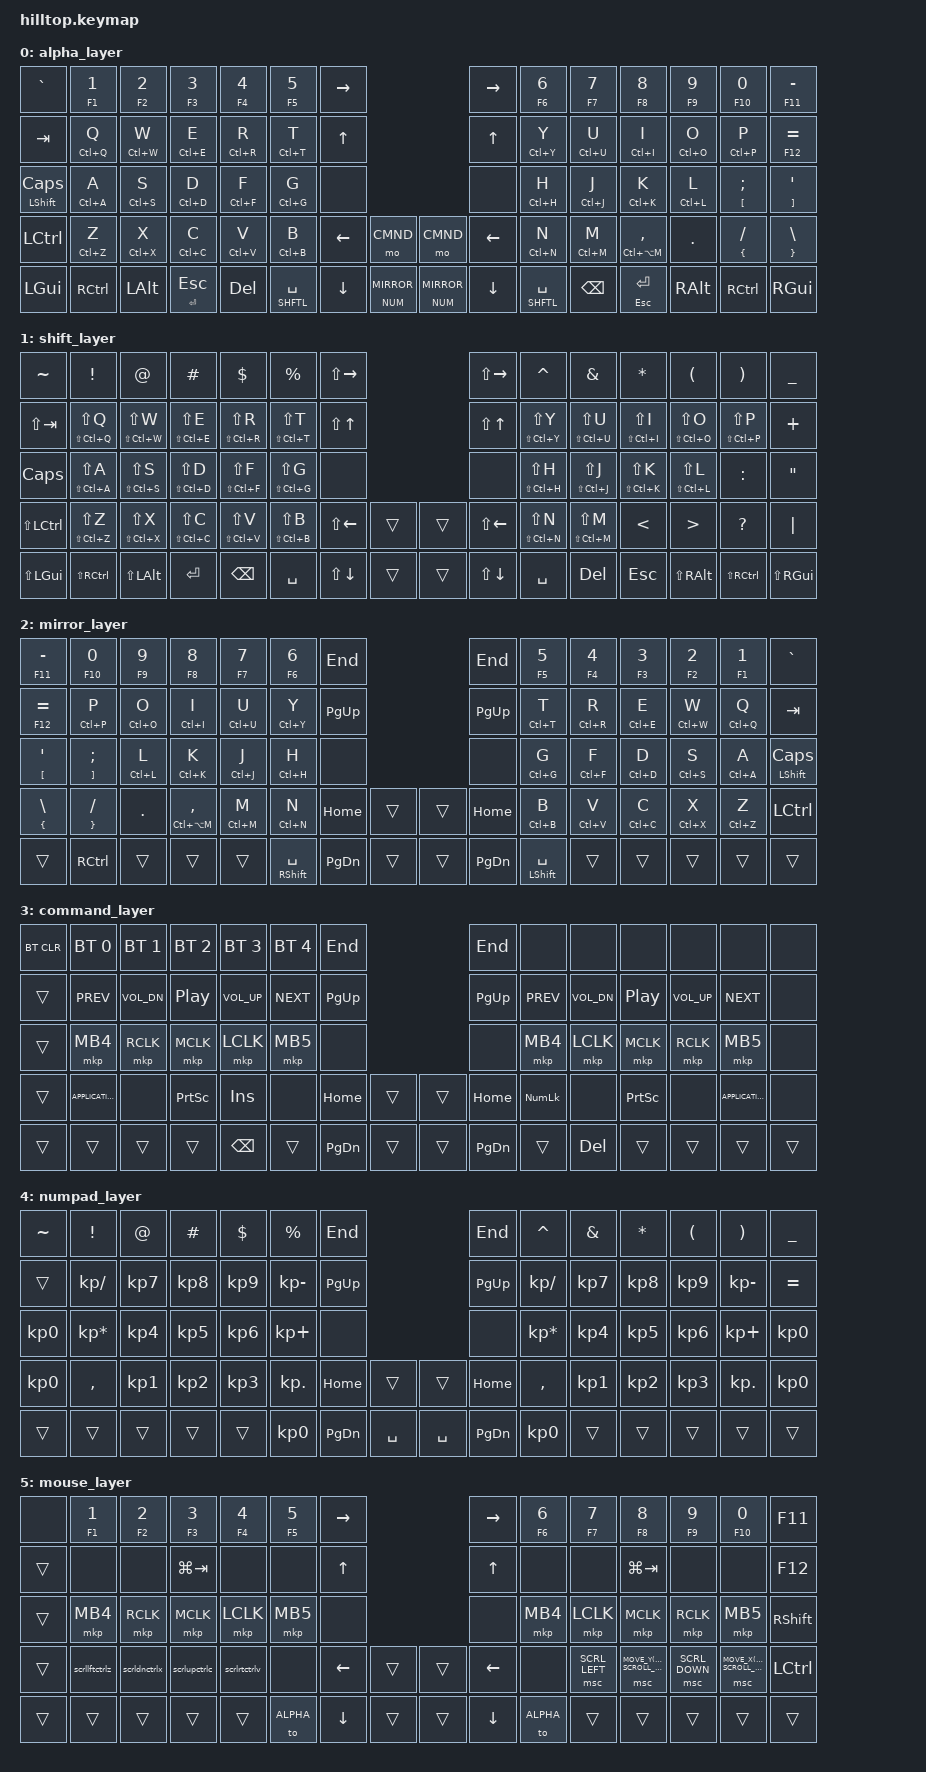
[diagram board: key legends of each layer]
#include <behaviors.dtsi>
#include <dt-bindings/zmk/keys.h> 
#include <dt-bindings/zmk/bt.h>
#include <dt-bindings/zmk/pointing.h>

#define ALPHA 0
#define SHFTL 1
#define MIRROR 2
#define CMND 3
#define NUM 4
#define MOUSE 5

&mmv {
	acceleration-exponent = <1>;
	time-to-max-speed-ms = <200>;
};
  
&msc {
	acceleration-exponent = <1>;
	time-to-max-speed-ms = <50>;
};

#define U_MOUSE_MOVE_MAX 750
#define U_MOUSE_SCROLL_MAX 50

#undef MOVE_UP
#undef MOVE_DOWN
#undef MOVE_LEFT
#undef MOVE_RIGHT
#define MOVE_UP MOVE_Y(-U_MOUSE_MOVE_MAX)
#define MOVE_DOWN MOVE_Y(U_MOUSE_MOVE_MAX)
#define MOVE_LEFT MOVE_X(-U_MOUSE_MOVE_MAX)
#define MOVE_RIGHT MOVE_X(U_MOUSE_MOVE_MAX)

#undef SCRL_UP
#undef SCRL_DOWN
#undef SCRL_LEFT
#undef SCRL_RIGHT
#define SCRL_UP MOVE_Y(U_MOUSE_SCROLL_MAX)
#define SCRL_DOWN MOVE_Y(-U_MOUSE_SCROLL_MAX)
#define SCRL_LEFT MOVE_X(-U_MOUSE_SCROLL_MAX)
#define SCRL_RIGHT MOVE_X(U_MOUSE_SCROLL_MAX)

/ {
	behaviors {
		ht_tp: hold_tap_tap_preferred {
			compatible = "zmk,behavior-hold-tap";
			#binding-cells = <2>;
			flavor = "tap-preferred";
			tapping-term-ms = <200>;
			quick-tap-ms = <150>;
			bindings = <&kp>, <&kp>;
		};

		ht_bal: hold_tap_balanced {
			compatible = "zmk,behavior-hold-tap";
			#binding-cells = <2>;
			flavor = "balanced";
			tapping-term-ms = <200>;
			quick-tap-ms = <150>;
			bindings = <&kp>, <&kp>;
		};

		ht_mokp: hold_tap_mo_kp {
			compatible = "zmk,behavior-hold-tap";
			#binding-cells = <2>;
			flavor = "balanced";
			tapping-term-ms = <200>;
			quick-tap-ms = <150>;
			bindings = <&mo>, <&kp>;
		};

		ht_moto: hold_tap_mo_to {
			compatible = "zmk,behavior-hold-tap";
			#binding-cells = <2>;
			flavor = "balanced";
			tapping-term-ms = <200>;
			quick-tap-ms = <150>;
			bindings = <&mo>, <&to>;
		};

		ht_mosl: hold_tap_mo_sl {
			compatible = "zmk,behavior-hold-tap";
			#binding-cells = <2>;
			flavor = "balanced";
			tapping-term-ms = <200>;
			quick-tap-ms = <150>;
			bindings = <&mo>, <&sl>;
		};

		scrlupctrlc: scrlupctrlc {
			compatible = "zmk,behavior-mod-morph";
			#binding-cells = <0>;
			bindings = <&msc SCRL_UP>, <&kp LC(C)>;
			mods = <(MOD_LCTL)>;
		};
		scrlrtctrlv: scrlrtctrlv {
			compatible = "zmk,behavior-mod-morph";
			#binding-cells = <0>;
			bindings = <&msc SCRL_RIGHT>, <&kp LC(V)>;
			mods = <(MOD_LCTL)>;
		};
		scrllftctrlz: scrllftctrlz {
			compatible = "zmk,behavior-mod-morph";
			#binding-cells = <0>;
			bindings = <&msc SCRL_LEFT>, <&kp LC(Z)>;
			mods = <(MOD_LCTL)>;
		};
		scrldnctrlx: scrldnctrlx {
			compatible = "zmk,behavior-mod-morph";
			#binding-cells = <0>;
			bindings = <&msc SCRL_DOWN>, <&kp LC(X)>;
			mods = <(MOD_LCTL)>;
		};
    };

	combos {
		compatible = "zmk,combos";
		combo_mouseleft {
			timeout-ms = <100>;
			key-positions = <49 65>;
			bindings = <&to MOUSE>;
			require-prior-idle-ms = <250>;
		};
		combo_mouseright {
			timeout-ms = <100>;
			key-positions = <50 66>;
			bindings = <&to MOUSE>;
			require-prior-idle-ms = <250>;
		};
		combo_alpha {
			timeout-ms = <100>;
			key-positions = <63 68>;
			bindings = <&to ALPHA>;
			require-prior-idle-ms = <250>;
		};
	};
};

/ {
	keymap {
		compatible = "zmk,keymap";
// | SW0		| SW1			| SW2			| SW3			| SW4			| SW5			| SW6 5WR		|						| SW7 5WR		| SW8			| SW9			| SW10			| SW11			| SW12			| SW13		|
// | SW14		| SW15			| SW16			| SW17			| SW18			| SW19			| SW20 5WU		|						| SW21 5WU		| SW22			| SW23			| SW24			| SW25			| SW26			| SW27		|
// | SW28		| SW29			| SW30			| SW31			| SW32			| SW33			| SW34 5WC		|						| SW35 5WC		| SW36			| SW37			| SW38			| SW39			| SW40			| SW41		|
// | SW42		| SW43			| SW44			| SW45			| SW46			| SW47			| SW48 5WL		| SW49	|		| SW50			| SW51 5WL		| SW52			| SW53			| SW54			| SW55			| SW56			| SW57		|
// | SW58		| SW59			| SW60			| SW61			| SW62			| SW63			| SW64 5WD		| SW65	|		| SW66			| SW67 5WD		| SW68			| SW69			| SW70			| SW71			| SW72			| SW73		|

		alpha_layer {
// |   `		| 1/F1			| 2/F2			| 3/F3			| 4/F4			| 5/F5			| RIGHT			|						| END			| 6/F6			| 7/F7			| 8/F8			| 9/F9			| 0/F10			| -/F11		|
// | TAB		|  Q			|  W			|  E			|  R			|  T			| UP			|						| PGUP			|  Y			|  U			|  I			|  O			|   P			| =/F12		|
// | SHFT/CPS		|  A			|  S			|  D			|  F			|  G			| 			|						| 			|  H			|  J			|  K			|  L			|   ;			|  '		|
// | LCTRL		|  Z			|  X			|  C			|  V			|  B			| LEFT			| CMND LAY		| CMND LAY		| HOME			|  N			|  M			|  ,			|  .			|   /			|  \		|
// | WIN		| RCTRL			| LALT			| ESC/ENT		| DEL			| SP/SHFT LAY		| DOWN			| NUM LAY		| NUM LAY		| PGDN			| SP/SHFT LAY		| BKSPC			| ENT/ESC		| RALT			| RCTRL			| WIN		|
						bindings		 = <																	
&kp GRAVE		&ht_tp F1 N1		&ht_tp F2 N2		&ht_tp F3 N3		&ht_tp F4 N4		&ht_tp F5 N5		&kp RIGHT								&kp RIGHT		&ht_tp F6 N6		&ht_tp F7 N7		&ht_tp F8 N8		&ht_tp F9 N9		&ht_tp F10 N0		&ht_tp F11 MINUS
&kp TAB			&ht_tp LC(Q) Q		&ht_tp LC(W) W		&ht_tp LC(E) E		&ht_tp LC(R) R		&ht_tp LC(T) T		&kp UP									&kp UP			&ht_tp LC(Y) Y		&ht_tp LC(U) U		&ht_tp LC(I) I		&ht_tp LC(O) O		&ht_tp LC(P) P		&ht_tp F12 EQUAL
&ht_bal LSHFT CAPS	&ht_tp LC(A) A		&ht_tp LC(S) S		&ht_tp LC(D) D		&ht_tp LC(F) F		&ht_tp LC(G) G		&none									&none			&ht_tp LC(H) H		&ht_tp LC(J) J		&ht_tp LC(K) K		&ht_tp LC(L) L		&ht_tp LBKT SEMI	&ht_tp RBKT SQT
&kp LCTRL		&ht_tp LC(Z) Z		&ht_tp LC(X) X		&ht_tp LC(C) C		&ht_tp LC(V) V		&ht_tp LC(B) B		&kp LEFT		&mo CMND		&mo CMND		&kp LEFT		&ht_tp LC(N) N		&ht_tp LC(M) M		&ht_tp LC(LA(M)) COMMA	&kp DOT			&ht_tp LBRC FSLH	&ht_tp RBRC BSLH
&kp LGUI		&kp RCTRL		&kp LALT		&ht_tp ENTER ESC	&kp DEL			&ht_mokp SHFTL SPACE	&kp DOWN		&ht_mosl NUM MIRROR	&ht_mosl NUM MIRROR	&kp DOWN		&ht_mokp SHFTL SPACE	&kp BSPC		&ht_tp ESC ENTER	&kp RALT		&kp RCTRL		&kp RGUI
			>;
		};

		shift_layer {
			bindings = <
&kp TILDE		&kp EXCL		&kp AT			&kp HASH		&kp DOLLAR		&kp PRCNT		&kp LS(RIGHT)								&kp LS(RIGHT)		&kp CARET		&kp AMPS		&kp ASTERISK		&kp LPAR		&kp RPAR		&kp UNDER
&kp LS(TAB)		&ht_tp LS(LC(Q)) LS(Q)	&ht_tp LS(LC(W)) LS(W)	&ht_tp LS(LC(E)) LS(E)	&ht_tp LS(LC(R)) LS(R)	&ht_tp LS(LC(T)) LS(T)	&kp LS(UP)		  						&kp LS(UP)		&ht_tp LS(LC(Y)) LS(Y)	&ht_tp LS(LC(U)) LS(U)	&ht_tp LS(LC(I)) LS(I)	&ht_tp LS(LC(O)) LS(O)	&ht_tp LS(LC(P)) LS(P)	&kp PLUS
&kp CAPS		&ht_tp LS(LC(A)) LS(A)	&ht_tp LS(LC(S)) LS(S)	&ht_tp LS(LC(D)) LS(D)	&ht_tp LS(LC(F)) LS(F)	&ht_tp LS(LC(G)) LS(G)	&none									&none			&ht_tp LS(LC(H)) LS(H)	&ht_tp LS(LC(J)) LS(J)	&ht_tp LS(LC(K)) LS(K)	&ht_tp LS(LC(L)) LS(L)	&kp COLON		&kp DQT
&kp LS(LCTRL)		&ht_tp LS(LC(Z)) LS(Z)	&ht_tp LS(LC(X)) LS(X)	&ht_tp LS(LC(C)) LS(C)	&ht_tp LS(LC(V)) LS(V)	&ht_tp LS(LC(B)) LS(B)	&kp LS(LEFT)		&trans			&trans			&kp LS(LEFT)		&ht_tp LS(LC(N)) LS(N)	&ht_tp LS(LC(M)) LS(M)	&kp LT			&kp GT			&kp QMARK		&kp PIPE
&kp LS(LGUI)		&kp LS(RCTRL)		&kp LS(LALT)		&kp ENTER		&kp BSPC		&kp SPACE		&kp LS(DOWN)		&trans			&trans			&kp LS(DOWN)		&kp SPACE		&kp DEL			&kp ESC			&kp LS(RALT)		&kp LS(RCTRL)		&kp LS(RGUI)
			>;
		};

		mirror_layer {
			bindings = <
&ht_tp F11 MINUS	&ht_tp F10 N0		&ht_tp F9 N9		&ht_tp F8 N8		&ht_tp F7 N7		&ht_tp F6 N6		&kp END									&kp END			&ht_tp F5 N5		&ht_tp F4 N4		&ht_tp F3 N3		&ht_tp F2 N2		&ht_tp F1 N1		&kp GRAVE
&ht_tp F12 EQUAL	&ht_tp LC(P) P		&ht_tp LC(O) O		&ht_tp LC(I) I		&ht_tp LC(U) U		&ht_tp LC(Y) Y		&kp PG_UP								&kp PG_UP		&ht_tp LC(T) T		&ht_tp LC(R) R		&ht_tp LC(E) E		&ht_tp LC(W) W		&ht_tp LC(Q) Q		&kp TAB
&ht_tp LBKT SQT		&ht_tp RBKT SEMI	&ht_tp LC(L) L		&ht_tp LC(K) K		&ht_tp LC(J) J		&ht_tp LC(H) H		&none									&none			&ht_tp LC(G) G		&ht_tp LC(F) F		&ht_tp LC(D) D		&ht_tp LC(S) S		&ht_tp LC(A) A		&ht_bal LSHFT CAPS
&ht_tp LBRC BSLH	&ht_tp RBRC FSLH	&kp DOT			&ht_tp LC(LA(M)) COMMA	&ht_tp LC(M) M		&ht_tp LC(N) N		&kp HOME		&trans			&trans			&kp HOME		&ht_tp LC(B) B		&ht_tp LC(V) V		&ht_tp LC(C) C		&ht_tp LC(X) X		&ht_tp LC(Z) Z		&kp LCTRL
&trans			&kp RCTRL		&trans			&trans			&trans			&ht_bal RSHFT SPACE	&kp PG_DN		&trans			&trans			&kp PG_DN		&ht_bal LSHFT SPACE	&trans			&trans			&trans			&trans			&trans
			>;
		};

		command_layer {
			bindings = <
&bt BT_CLR		&bt BT_SEL 0		&bt BT_SEL 1		&bt BT_SEL 2		&bt BT_SEL 3		&bt BT_SEL 4		&kp END									&kp END			&none			&none			&none			&none			&none			&none
&trans			&kp C_PREV		&kp C_VOL_DN		&kp C_PLAY_PAUSE	&kp C_VOL_UP		&kp C_NEXT		&kp PG_UP								&kp PG_UP		&kp C_PREV		&kp C_VOL_DN		&kp C_PLAY_PAUSE	&kp C_VOL_UP		&kp C_NEXT		&none
&trans			&mkp MB4		&mkp RCLK		&mkp MCLK		&mkp LCLK		&mkp MB5		&none									&none			&mkp MB4		&mkp LCLK		&mkp MCLK		&mkp RCLK		&mkp MB5		&none
&trans			&kp K_APPLICATION	&none			&kp PRINTSCREEN		&kp INSERT		&none			&kp HOME		&trans			&trans			&kp HOME		&kp KP_NLCK		&none			&kp PRINTSCREEN		&none			&kp K_APPLICATION	&none
&trans			&trans			&trans			&trans			&kp BSPC		&trans			&kp PG_DN		&trans			&trans			&kp PG_DN		&trans			&kp DEL			&trans			&trans			&trans			&trans
			>;
		};

		numpad_layer {
			bindings = <
&kp TILDE		&kp EXCL		&kp AT			&kp HASH		&kp DOLLAR		&kp PRCNT		&kp END									&kp END			&kp CARET		&kp AMPS		&kp ASTERISK		&kp LPAR		&kp RPAR		&kp UNDER
&trans			&kp KP_DIVIDE		&kp KP_N7		&kp KP_N8		&kp KP_N9		&kp KP_MINUS		&kp PG_UP								&kp PG_UP		&kp KP_DIVIDE		&kp KP_N7		&kp KP_N8		&kp KP_N9		&kp KP_MINUS		&kp EQUAL
&kp KP_N0		&kp KP_MULTIPLY		&kp KP_N4		&kp KP_N5		&kp KP_N6		&kp KP_PLUS		&none									&none			&kp KP_MULTIPLY		&kp KP_N4		&kp KP_N5		&kp KP_N6		&kp KP_PLUS		&kp KP_N0
&kp KP_N0		&kp COMMA		&kp KP_N1		&kp KP_N2		&kp KP_N3		&kp KP_DOT		&kp HOME		&trans			&trans			&kp HOME		&kp COMMA		&kp KP_N1		&kp KP_N2		&kp KP_N3		&kp KP_DOT		&kp KP_N0
&trans			&trans			&trans			&trans			&trans			&kp KP_N0		&kp PG_DN		&kp SPACE		&kp SPACE		&kp PG_DN		&kp KP_N0		&trans			&trans			&trans			&trans			&trans
			>;
		};

		mouse_layer {
			bindings = <	
&none			&ht_tp F1 N1		&ht_tp F2 N2		&ht_tp F3 N3		&ht_tp F4 N4		&ht_tp F5 N5		&kp RIGHT								&kp RIGHT		&ht_tp F6 N6		&ht_tp F7 N7		&ht_tp F8 N8		&ht_tp F9 N9		&ht_tp F10 N0		&kp F11
&trans			&none			&none			&kp LG(TAB)		&none			&none			&kp UP									&kp UP			&none			&none			&kp LG(TAB)		&none			&none			&kp F12
&trans			&mkp MB4		&mkp RCLK		&mkp MCLK		&mkp LCLK		&mkp MB5		&none									&none			&mkp MB4		&mkp LCLK		&mkp MCLK		&mkp RCLK		&mkp MB5		&kp RSHFT
&trans			&scrllftctrlz		&scrldnctrlx		&scrlupctrlc		&scrlrtctrlv		&none			&kp LEFT		&trans			&trans			&kp LEFT		&none			&msc SCRL_LEFT		&msc SCRL_UP		&msc SCRL_DOWN		&msc SCRL_RIGHT		&kp LCTRL
&trans			&trans			&trans			&trans			&trans			&to ALPHA		&kp DOWN		&trans			&trans			&kp DOWN		&to ALPHA		&trans			&trans			&trans			&trans			&trans
			>;
		};
	};
};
